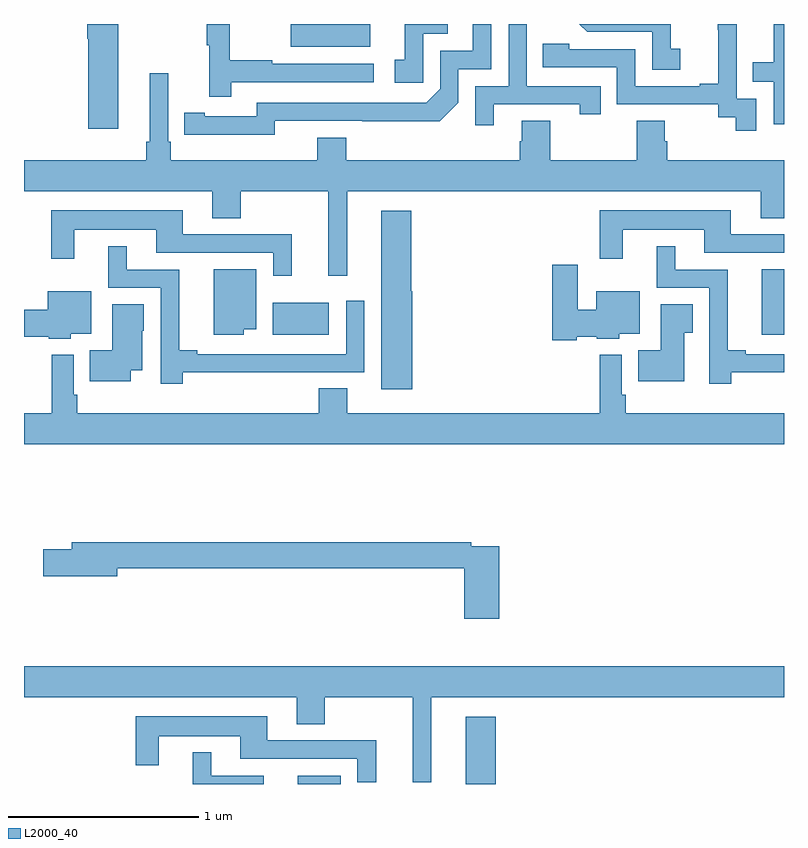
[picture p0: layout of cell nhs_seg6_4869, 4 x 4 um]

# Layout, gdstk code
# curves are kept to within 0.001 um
import gdstk
lib = gdstk.Library(unit=1e-6, precision=1e-09)
def R(c, l, rs):  # rectangles x0, y0, x1, y1
    for r in rs: c.add(gdstk.rectangle(r[:2], r[2:], *l))
def P(c, l, *ps):  # polygons
    for p in ps: c.add(gdstk.Polygon(p, *l))
L2000_40 = (2000, 40)

nhs_seg6_4869 = lib.new_cell('nhs_seg6_4869')
R(nhs_seg6_4869, L2000_40, [(400.442,993.5,400.666,993.544), (401.324,993.5,401.483,993.853), (400.31,995.864,400.603,996.034), (402.884,995.864,403,996.208), (400.403,997.379,400.822,997.5)])
P(nhs_seg6_4869, L2000_40, [(399.496,997.5),(399.332,997.5),(399.332,997.422),(399.338,997.422),(399.338,996.948),(399.496,996.948)],
  [(400.32,996.99),(401.188,996.989),(401.286,997.086),(401.286,997.263),(401.46,997.263),(401.46,997.5),(401.363,997.5),(401.363,997.359),(401.19,997.359),(401.19,997.158),(401.118,997.086),(400.224,997.086),(400.224,997.014),(399.952,997.014),(399.952,997.034),(399.844,997.034),(399.844,996.918),(400.32,996.917)],
  [(400.091,997.194),(400.84,997.194),(400.84,997.29),(400.307,997.29),(400.307,997.31),(400.084,997.31),(400.084,997.5),(399.963,997.5),(399.963,997.387),(399.974,997.387),(399.974,997.116),(400.091,997.116)],
  [(402.454,997.369),(402.405,997.369),(402.405,997.5),(401.922,997.5),(401.964,997.458),(402.306,997.458),(402.306,997.26),(402.454,997.26)],
  [(401.473,997.077),(401.924,997.077),(401.924,997.026),(402.035,997.026),(402.035,997.173),(401.646,997.173),(401.646,997.5),(401.55,997.5),(401.55,997.173),(401.376,997.173),(401.376,996.966),(401.473,996.966)],
  [(402.855,997.107),(402.75,997.107),(402.75,997.337),(402.752,997.337),(402.752,997.5),(402.652,997.5),(402.652,997.469),(402.653,997.469),(402.653,997.186),(402.557,997.186),(402.557,997.173),(402.216,997.173),(402.216,997.368),(401.871,997.368),(401.871,997.395),(401.731,997.395),(401.731,997.272),(402.12,997.272),(402.12,997.077),(402.654,997.077),(402.654,997.009),(402.747,997.009),(402.747,996.939),(402.855,996.939)],
  [(403,997.5),(402.945,997.5),(402.945,997.298),(402.835,997.298),(402.835,997.197),(402.945,997.197),(402.945,996.972),(403,996.972)],
  [(401.1,997.449),(401.229,997.449),(401.229,997.5),(401.003,997.5),(401.003,997.311),(400.95,997.311),(400.95,997.191),(401.1,997.191)],
  [(399.773,996.88),(399.759,996.88),(399.759,997.24),(399.662,997.24),(399.662,996.88),(399.643,996.88),(399.643,996.784),(399,996.784),(399,996.62),(399.992,996.62),(399.992,996.478),(400.14,996.478),(400.14,996.62),(400.601,996.62),(400.601,996.174),(400.7,996.174),(400.7,996.62),(402.878,996.62),(402.878,996.478),(403,996.478),(403,996.784),(402.386,996.784),(402.386,996.882),(402.373,996.882),(402.373,996.992),(402.226,996.992),(402.226,996.784),(401.769,996.784),(401.769,996.992),(401.621,996.992),(401.621,996.882),(401.609,996.882),(401.609,996.784),(400.697,996.784),(400.697,996.901),(400.544,996.901),(400.544,996.784),(399.773,996.784)],
  [(402.151,996.416),(402.581,996.416),(402.581,996.297),(403,996.297),(403,996.393),(402.721,996.393),(402.721,996.52),(402.03,996.52),(402.03,996.264),(402.151,996.264)],
  [(400.409,996.393),(399.835,996.393),(399.835,996.52),(399.144,996.52),(399.144,996.264),(399.265,996.264),(399.265,996.416),(399.695,996.416),(399.695,996.297),(400.311,996.297),(400.311,996.174),(400.409,996.174)],
  [(401.044,996.093),(401.039,996.093),(401.039,996.517),(400.88,996.517),(400.88,995.577),(401.044,995.577)],
  [(399.836,995.666),(400.466,995.666),(400.466,995.667),(400.791,995.667),(400.791,996.043),(400.695,996.043),(400.695,995.763),(399.913,995.763),(399.913,995.783),(399.818,995.783),(399.818,996.207),(399.541,996.207),(399.541,996.331),(399.443,996.331),(399.443,996.111),(399.72,996.111),(399.72,995.607),(399.836,995.607)],
  [(402.722,995.666),(403,995.666),(403,995.763),(402.799,995.763),(402.799,995.783),(402.704,995.783),(402.704,996.207),(402.427,996.207),(402.427,996.331),(402.329,996.331),(402.329,996.111),(402.606,996.111),(402.606,995.607),(402.722,995.607)],
  [(401.91,995.854),(402.015,995.854),(402.015,995.843),(402.132,995.843),(402.132,995.87),(402.241,995.87),(402.241,996.094),(402.011,996.094),(402.011,995.996),(401.914,995.996),(401.914,996.232),(401.78,996.232),(401.78,995.836),(401.91,995.836)],
  [(400.156,995.894),(400.222,995.894),(400.222,996.208),(399.998,996.208),(399.998,995.864),(400.156,995.864)],
  [(399.246,995.87),(399.355,995.87),(399.355,996.094),(399.125,996.094),(399.125,995.996),(399,995.996),(399,995.854),(399.129,995.854),(399.129,995.843),(399.246,995.843)],
  [(402.475,995.875),(402.521,995.875),(402.521,996.026),(402.35,996.026),(402.35,995.782),(402.232,995.782),(402.232,995.621),(402.475,995.621)],
  [(399.562,995.678),(399.622,995.678),(399.622,995.886),(399.631,995.886),(399.631,996.026),(399.464,996.026),(399.464,995.782),(399.346,995.782),(399.346,995.621),(399.562,995.621)],
  [(403,995.452),(402.167,995.452),(402.167,995.548),(402.147,995.548),(402.147,995.758),(402.031,995.758),(402.031,995.452),(400.702,995.452),(400.702,995.582),(400.55,995.582),(400.55,995.452),(399.281,995.452),(399.281,995.548),(399.261,995.548),(399.261,995.758),(399.145,995.758),(399.145,995.452),(399,995.452),(399,995.288),(403,995.288)],
  [(401.501,994.752),(401.354,994.752),(401.354,994.772),(399.251,994.772),(399.251,994.736),(399.102,994.736),(399.102,994.594),(399.49,994.594),(399.49,994.636),(401.318,994.636),(401.318,994.371),(401.501,994.371)],
  [(401.144,993.956),(403,993.956),(403,994.12),(399,994.12),(399,993.956),(400.436,993.956),(400.436,993.814),(400.584,993.814),(400.584,993.956),(401.045,993.956),(401.045,993.51),(401.144,993.51)],
  [(400.853,993.729),(400.279,993.729),(400.279,993.856),(399.588,993.856),(399.588,993.6),(399.709,993.6),(399.709,993.752),(400.139,993.752),(400.139,993.633),(400.755,993.633),(400.755,993.51),(400.853,993.51)],
  [(400.262,993.543),(399.985,993.543),(399.985,993.667),(399.887,993.667),(399.887,993.5),(400.262,993.5)])

lib.write_gds('nhs_seg6_4869.gds')
